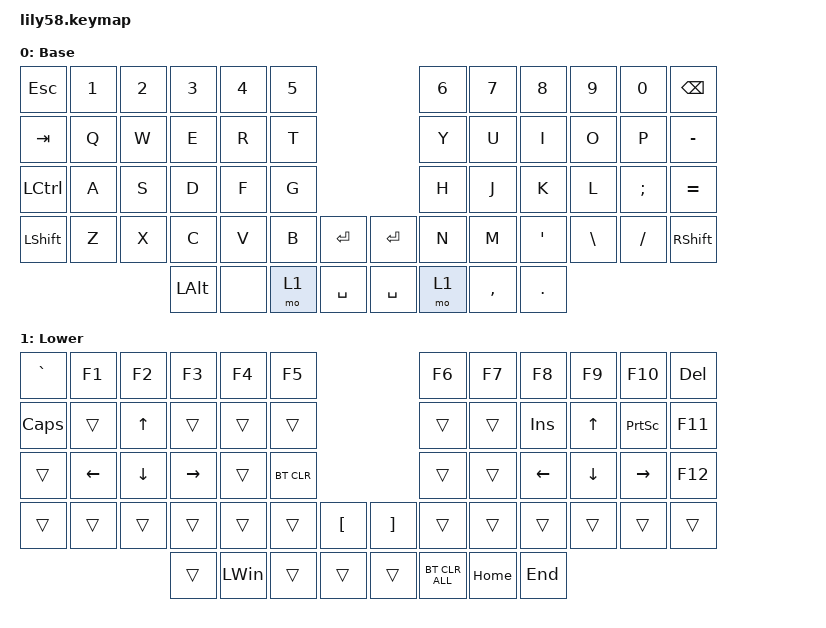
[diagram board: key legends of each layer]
/*
 * Copyright (c) 2020 The ZMK Contributors
 *
 * SPDX-License-Identifier: MIT
 */

#include <behaviors.dtsi>
#include <dt-bindings/zmk/bt.h>
#include <dt-bindings/zmk/keys.h>

/ {
    keymap {
        compatible = "zmk,keymap";

        default_layer {
            // ------------------------------------------------------------------------------------------------------------
            // |  ESC  |  1  |  2  |  3   |  4   |  5   |                   |  6   |  7    |  8    |  9   |   0   |   `   |
            // |  TAB  |  Q  |  W  |  E   |  R   |  T   |                   |  Y   |  U    |  I    |  O   |   P   |   -   |
            // |  CTRL |  A  |  S  |  D   |  F   |  G   |                   |  H   |  J    |  K    |  L   |   ;   |   '   |
            // | SHIFT |  Z  |  X  |  C   |  V   |  B   |   "["  |  |  "]"  |  N   |  M    |  ,    |  .   |   /   | SHIFT |
            //                     | ALT  | GUI  | LOWER|  SPACE |  | ENTER | RAISE| BSPC  | GUI   |

            label = "Base";
            bindings = <
&kp ESC    &kp N1  &kp N2  &kp N3    &kp N4  &kp N5                          &kp N6  &kp N7     &kp N8      &kp N9         &kp N0    &kp BACKSPACE
&kp TAB    &kp Q   &kp W   &kp E     &kp R   &kp T                           &kp Y   &kp U      &kp I       &kp O          &kp P     &kp MINUS
&kp LCTRL  &kp A   &kp S   &kp D     &kp F   &kp G                           &kp H   &kp J      &kp K       &kp L          &kp SEMI  &kp EQUAL
&kp LSHFT  &kp Z   &kp X   &kp C     &kp V   &kp B   &kp ENTER    &kp ENTER  &kp N   &kp M      &kp SQT     &kp BACKSLASH  &kp FSLH  &kp RSHFT
                           &kp LALT  &none   &mo 1   &kp SPACE    &kp SPACE  &mo 1   &kp COMMA  &kp PERIOD
            >;
        };

        lower_layer {
            // ------------------------------------------------------------------------------------------------------------
            // | BTCLR | BT1 | BT2 |  BT3 |  BT4 |  BT5 |                   |      |       |       |      |       |       |
            // |  F1   |  F2 |  F3 |  F4  |  F5  |  F6  |                   |  F7  |  F8   |  F9   |  F10 |  F11  |  F12  |
            // |   `   |  !  |  @  |  #   |  $   |  %   |                   |  ^   |  &    |  *    |  (   |   )   |   ~   |
            // |       |     |     |      |      |      |        |  |       |      |  _    |  +    |  {   |   }   |  "|"  |
            //                     |      |      |      |        |  |       |      |       |       |

            label = "Lower";
            bindings = <
&kp GRAVE     &kp F1          &kp F2        &kp F3     &kp F4        &kp F5                                             &kp F6          &kp F7    &kp F8    &kp F9        &kp F10          &kp DEL
&kp CAPSLOCK  &trans          &kp UP_ARROW  &trans     &trans        &trans                                             &trans          &trans    &kp INS   &kp UP_ARROW  &kp PRINTSCREEN  &kp F11
&trans        &kp LEFT_ARROW  &kp DOWN      &kp RIGHT  &trans        &bt BT_CLR                                         &trans          &trans    &kp LEFT  &kp DOWN      &kp RIGHT        &kp F12
&trans        &trans          &trans        &trans     &trans        &trans      &kp LEFT_BRACKET    &kp RIGHT_BRACKET  &trans          &trans    &trans    &trans        &trans           &trans
                                            &trans     &kp LEFT_WIN  &trans      &trans              &trans             &bt BT_CLR_ALL  &kp HOME  &kp END
            >;
        };
    };
};
